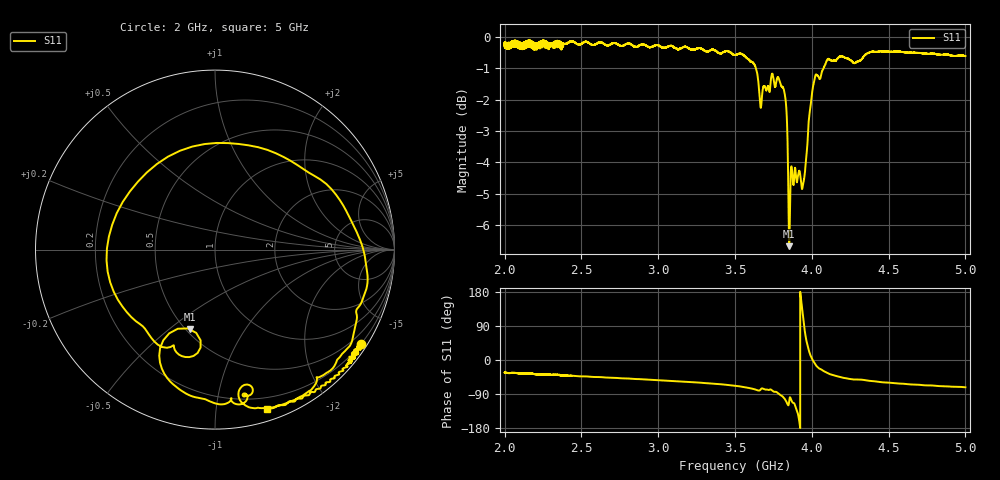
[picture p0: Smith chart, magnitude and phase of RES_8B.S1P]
!Agilent Technologies,E5071C,MY46214220,A.11.31
!Date: Fri Sep 22 10:44:02 2017
!Data & Calibration Information:
!Freq	S11:SOLT1(ON)
!PortZ  Port1:50+j0
!Above PortZ is port z conversion or system Z0 setting when saving the data.
!When reading, reference impedance value at option line is always used.
# Hz S dB R 50
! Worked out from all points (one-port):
!   20000 points, 2 GHz to 5 GHz, reference 50 ohm
!   lowest |S11| = -6.7 dB at 3.853 GHz (marker M1), VSWR 2.73, Z = 26.3 - j29.6 ohm
!   |S11| at or under -10 dB: nowhere
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2e9  -0.28 -33.1
2.375019e9  -0.20 -40.7
2.750038e9  -0.27 -48.0
3.125056e9  -0.38 -56.2
3.500075e9  -0.57 -67.9
3.650833e9  -1.38 -80.5
3.671534e9  -2.15 -75.6
3.729286e9  -1.59 -77.5
3.789739e9  -1.40 -90.9
3.819441e9  -1.70 -100.5
3.834442e9  -2.30 -109.9
3.853043e9  -6.67 -107.5
3.875094e9  -4.48 -112.3
3.903295e9  -4.63 -133.3
3.913796e9  -4.34 -150.0
3.924596e9  -4.40 179.9
3.932397e9  -4.75 153.1
3.941097e9  -4.76 121.4
3.954748e9  -4.36 75.4
3.967648e9  -3.64 45.8
3.980399e9  -2.66 25.7
3.9948e9  -2.08 9.0
4.013251e9  -1.46 -5.6
4.041002e9  -1.24 -20.2
4.106855e9  -0.70 -35.5
4.250113e9  -0.73 -50.4
4.625131e9  -0.50 -63.8
5e9  -0.61 -72.1
